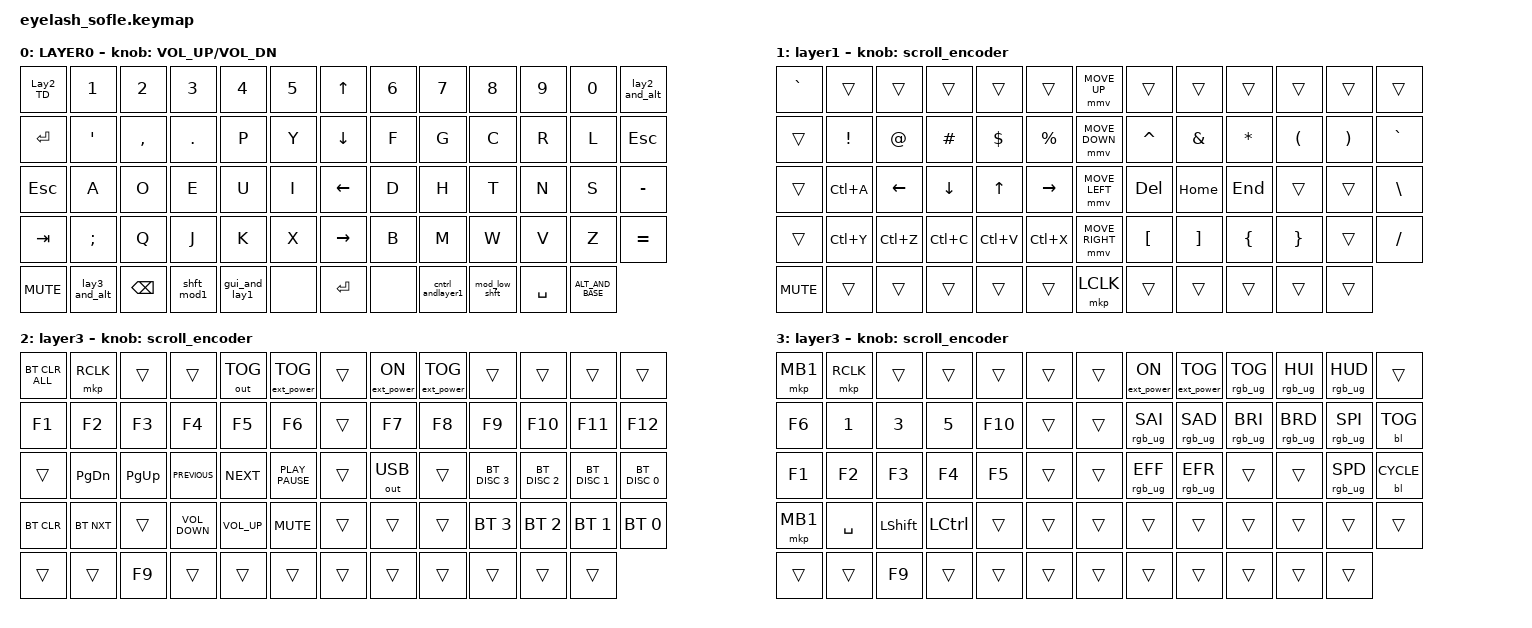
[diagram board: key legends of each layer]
#define ZMK_POINTING_DEFAULT_MOVE_VAL 1200  // 600
#define ZMK_POINTING_DEFAULT_SCRL_VAL 35    // 10

#include <input/processors.dtsi>
#include <zephyr/dt-bindings/input/input-event-codes.h>
#include <behaviors.dtsi>
#include <dt-bindings/zmk/backlight.h>
#include <dt-bindings/zmk/bt.h>
#include <dt-bindings/zmk/ext_power.h>
#include <dt-bindings/zmk/keys.h>
#include <dt-bindings/zmk/outputs.h>
#include <dt-bindings/zmk/pointing.h>
#include <dt-bindings/zmk/rgb.h>

/ {
    zip_scroll_scaler: zip_scroll_scaler {
        compatible = "zmk,input-processor-scaler";
        #input-processor-cells = <2>;
        type = <INPUT_EV_REL>;
        codes = <INPUT_REL_WHEEL INPUT_REL_HWHEEL>;
        track-remainders;
    };
};

&mmv_input_listener { input-processors = <&zip_xy_scaler 2 1>; };

&msc_input_listener { input-processors = <&zip_scroll_scaler 2 1>; };

&msc {
    acceleration-exponent = <0>;      // 0
    time-to-max-speed-ms = <0>;       // 300
    delay-ms = <0>;                   // 0
};

&mmv {
    time-to-max-speed-ms = <400>;
    acceleration-exponent = <1>;
    trigger-period-ms = <16>;
};

/ {
    scroll_encoder: scroll_encoder {
        compatible = "zmk,behavior-sensor-rotate";
        #sensor-binding-cells = <0>;
        bindings = <&msc SCRL_DOWN>, <&msc SCRL_UP>;

        tap-ms = <30>;
    };

    gui_and_lay1: gui_and_lay1 {
        compatible = "zmk,behavior-tap-dance";
        label = "GUI_AND_LAY1";
        #binding-cells = <0>;
        bindings = <&mac_gui_lay1>, <&kp LEFT_GUI>, <&mac_gui_shift_lay1>;

        tapping-term-ms = <250>;
    };

    shft_mod1: shft_mod1 {
        compatible = "zmk,behavior-tap-dance";
        label = "SHFT_MOD1";
        #binding-cells = <0>;
        bindings = <&kp LEFT_SHIFT>, <&mo 1>, <&mac_shft_lay1>;
    };

    cntrl_andlayer1: cntrl_andlayer1 {
        compatible = "zmk,behavior-tap-dance";
        label = "CNTRL_ANDLAYER1";
        #binding-cells = <0>;
        bindings =
            <&kp LEFT_CONTROL>,
            <&mac_cntrl_lay1>,
            <&mac_cntrl_shft_lay11>;

        tapping-term-ms = <275>;
    };

    mod_low_shft: mod_low_shft {
        compatible = "zmk,behavior-tap-dance";
        label = "MOD_LOW_SHFT";
        #binding-cells = <0>;
        bindings = <&mo 1>, <&kp LEFT_SHIFT>, <&mac_shft_lay1>;

        tapping-term-ms = <230>;
    };

    lay2_and_alt: lay2_and_alt {
        compatible = "zmk,behavior-tap-dance";
        label = "LAY2_AND_ALT";
        #binding-cells = <0>;
        bindings = <&mo 2>, <&kp LEFT_ALT>, <&kp LS(LEFT_ALT)>;

        tapping-term-ms = <230>;
    };

    Layer_3_TD: Layer_3_TD {
        compatible = "zmk,behavior-tap-dance";
        label = "LAYER_3_TD";
        #binding-cells = <0>;
        bindings = <&mo 3>, <&mo 2>, <&tog 3>;

        tapping-term-ms = <250>;
    };

    ALT_AND_BASE: ALT_AND_BASE {
        compatible = "zmk,behavior-tap-dance";
        label = "ALT_AND_BASE";
        #binding-cells = <0>;
        bindings = <&none>, <&kp LEFT_ALT>, <&tog 0>;

        tapping-term-ms = <250>;
    };

    lay3_and_alt: lay3_and_alt {
        compatible = "zmk,behavior-tap-dance";
        label = "LAY3_AND_ALT";
        #binding-cells = <0>;
        bindings = <&mo 3>, <&kp LEFT_ALT>, <&kp LS(LEFT_CONTROL)>;

        tapping-term-ms = <230>;
    };

    Lay2_TD: Lay2_TD {
        compatible = "zmk,behavior-tap-dance";
        label = "LAY2_TD";
        #binding-cells = <0>;
        bindings = <&mo 2>, <&mo 3>, <&tog 3>;

        tapping-term-ms = <250>;
    };

    behaviors {
    };

    combos {
        compatible = "zmk,combos";

        softoff {
            bindings = <&soft_off>;
            key-positions = <14 28 40>;
        };
    };

    macros {
        mac_gui_lay1: mac_gui_lay1 {
            compatible = "zmk,behavior-macro";
            #binding-cells = <0>;
            bindings =
                <&macro_press>,
                <&mo 1>,
                <&macro_press>,
                <&kp LEFT_GUI>,
                <&macro_pause_for_release>,
                <&macro_release>,
                <&kp LEFT_GUI>,
                <&macro_release>,
                <&mo 1>;

            label = "MAC_GUI_LAY1";
        };

        mac_shft_lay1: mac_shft_lay1 {
            compatible = "zmk,behavior-macro";
            #binding-cells = <0>;
            bindings =
                <&macro_press>,
                <&mo 1>,
                <&macro_press>,
                <&kp LEFT_SHIFT>,
                <&macro_pause_for_release>,
                <&macro_release>,
                <&kp LEFT_SHIFT>,
                <&macro_release>,
                <&mo 1>;

            label = "MAC_SHFT_LAY1";
        };

        mac_cntrl_shft_lay1: mac_cntrl_shift_lay1 {
            compatible = "zmk,behavior-macro";
            #binding-cells = <0>;
            bindings =
                <&macro_press>,
                <&mo 1>,
                <&macro_press>,
                <&kp LS(LEFT_CONTROL)>,
                <&macro_pause_for_release>,
                <&macro_release>,
                <&kp LS(LEFT_CONTROL)>,
                <&macro_release>,
                <&mo 1>;

            label = "MAC_CNTRL_SHIFT_LAY1";
        };

        mac_gui_shift_lay1: mac_gui_shift_lay1 {
            compatible = "zmk,behavior-macro";
            #binding-cells = <0>;
            bindings =
                <&macro_press>,
                <&mo 1>,
                <&macro_press>,
                <&kp LS(LEFT_GUI)>,
                <&macro_pause_for_release>,
                <&macro_release>,
                <&kp LS(LEFT_GUI)>,
                <&macro_release>,
                <&mo 1>;

            label = "MAC_GUI_SHIFT_LAY1";
        };

        mac_alt_lay1: mac_alt_lay1 {
            compatible = "zmk,behavior-macro";
            #binding-cells = <0>;
            bindings =
                <&macro_press>,
                <&mo 1>,
                <&macro_press>,
                <&kp LEFT_ALT>,
                <&macro_pause_for_release>,
                <&macro_release>,
                <&kp LEFT_ALT>,
                <&macro_release>,
                <&mo 1>;

            label = "MAC_ALT_LAY1";
        };

        mac_cntrl_lay1: mac_cntrl_lay1 {
            compatible = "zmk,behavior-macro";
            #binding-cells = <0>;
            bindings =
                <&macro_press>,
                <&mo 1>,
                <&macro_press>,
                <&kp LEFT_CONTROL>,
                <&macro_pause_for_release>,
                <&macro_release>,
                <&kp LEFT_CONTROL>,
                <&macro_release>,
                <&mo 1>;

            label = "MAC_CNTRL_LAY1";
        };

        mac_cntrl_shft_lay11: mac_cntrl_shft_lay11 {
            compatible = "zmk,behavior-macro";
            #binding-cells = <0>;
            bindings =
                <&macro_press>,
                <&mo 1>,
                <&macro_press>,
                <&kp LS(LEFT_CONTROL)>,
                <&macro_pause_for_release>,
                <&macro_release>,
                <&kp LS(LEFT_CONTROL)>,
                <&macro_release>,
                <&mo 1>;

            label = "MAC_CNTRL_SHFT_LAY11";
        };

        mac_shft_lay11: mac_shft_lay11 {
            compatible = "zmk,behavior-macro";
            #binding-cells = <0>;
            bindings =
                <&macro_press>,
                <&mo 1>,
                <&macro_press>,
                <&kp LEFT_SHIFT>,
                <&macro_pause_for_release>,
                <&macro_release>,
                <&kp LEFT_SHIFT>,
                <&macro_release>,
                <&mo 1>;

            label = "MAC_SHFT_LAY11";
        };
    };

    keymap {
        compatible = "zmk,keymap";

        layer0 {
            bindings = <
&Lay2_TD    &kp N1         &kp N2         &kp N3      &kp N4         &kp N5    &kp UP_ARROW     &kp N6  &kp N7            &kp N8         &kp N9     &kp N0         &lay2_and_alt
&kp ENTER   &kp SQT        &kp COMMA      &kp PERIOD  &kp P          &kp Y     &kp DOWN_ARROW   &kp F   &kp G             &kp C          &kp R      &kp L          &kp ESCAPE
&kp ESCAPE  &kp A          &kp O          &kp E       &kp U          &kp I     &kp LEFT_ARROW   &kp D   &kp H             &kp T          &kp N      &kp S          &kp MINUS
&kp TAB     &kp SEMICOLON  &kp Q          &kp J       &kp K          &kp X     &kp RIGHT_ARROW  &kp B   &kp M             &kp W          &kp V      &kp Z          &kp EQUAL
&kp C_MUTE  &lay3_and_alt  &kp BACKSPACE  &shft_mod1  &gui_and_lay1  &none     &kp ENTER        &none   &cntrl_andlayer1  &mod_low_shft  &kp SPACE  &ALT_AND_BASE
            >;

            sensor-bindings = <&inc_dec_kp C_VOLUME_UP C_VOL_DN>;
            display-name = "LAYER0";
        };

        layer_1 {
            bindings = <
&kp GRAVE   &trans           &trans          &trans          &trans        &trans         &mmv MOVE_UP     &trans            &trans             &trans          &trans                &trans                 &trans
&trans      &kp EXCLAMATION  &kp AT_SIGN     &kp POUND       &kp DOLLAR    &kp PERCENT    &mmv MOVE_DOWN   &kp CARET         &kp AMPERSAND      &kp ASTERISK    &kp LEFT_PARENTHESIS  &kp RIGHT_PARENTHESIS  &kp GRAVE
&trans      &kp LC(A)        &kp LEFT_ARROW  &kp DOWN_ARROW  &kp UP_ARROW  &kp RIGHT      &mmv MOVE_LEFT   &kp DELETE        &kp HOME           &kp END         &trans                &trans                 &kp BACKSLASH
&trans      &kp LC(Y)        &kp LC(Z)       &kp LC(C)       &kp LC(V)     &kp LC(X)      &mmv MOVE_RIGHT  &kp LEFT_BRACKET  &kp RIGHT_BRACKET  &kp LEFT_BRACE  &kp RIGHT_BRACE       &trans                 &kp SLASH
&kp C_MUTE  &trans           &trans          &trans          &trans        &trans         &mkp LCLK        &trans            &trans             &trans          &trans                &trans
            >;

            display-name = "layer1";
            sensor-bindings = <&scroll_encoder>;
        };

        layer_2 {
            display-name = "layer3";
            bindings = <
&bt BT_CLR_ALL  &mkp RCLK      &trans       &trans             &out OUT_TOG     &ext_power EP_TOG    &trans  &ext_power EP_ON  &ext_power EP_TOG  &trans         &trans         &trans         &trans
&kp F1          &kp F2         &kp F3       &kp F4             &kp F5           &kp F6               &trans  &kp F7            &kp F8             &kp F9         &kp F10        &kp F11        &kp F12
&trans          &kp PAGE_DOWN  &kp PAGE_UP  &kp K_PREVIOUS     &kp K_NEXT       &kp K_PLAY_PAUSE     &trans  &out OUT_USB      &trans             &bt BT_DISC 3  &bt BT_DISC 2  &bt BT_DISC 1  &bt BT_DISC 0
&bt BT_CLR      &bt BT_NXT     &trans       &kp C_VOLUME_DOWN  &kp C_VOLUME_UP  &kp K_MUTE           &trans  &trans            &trans             &bt BT_SEL 3   &bt BT_SEL 2   &bt BT_SEL 1   &bt BT_SEL 0
&trans          &trans         &kp F9       &trans             &trans           &trans               &trans  &trans            &trans             &trans         &trans         &trans
            >;

            sensor-bindings = <&scroll_encoder>;
            label = "layer2";
        };

        layer_3 {
            bindings = <
&mkp MB1  &mkp RCLK  &trans     &trans     &trans   &trans    &trans  &ext_power EP_ON  &ext_power EP_TOG  &rgb_ug RGB_TOG  &rgb_ug RGB_HUI  &rgb_ug RGB_HUD  &trans
&kp F6    &kp N1     &kp N3     &kp N5     &kp F10  &trans    &trans  &rgb_ug RGB_SAI   &rgb_ug RGB_SAD    &rgb_ug RGB_BRI  &rgb_ug RGB_BRD  &rgb_ug RGB_SPI  &bl BL_TOG
&kp F1    &kp F2     &kp F3     &kp F4     &kp F5   &trans    &trans  &rgb_ug RGB_EFF   &rgb_ug RGB_EFR    &trans           &trans           &rgb_ug RGB_SPD  &bl BL_CYCLE
&mkp MB1  &kp SPACE  &kp LSHFT  &kp LCTRL  &trans   &trans    &trans  &trans            &trans             &trans           &trans           &trans           &trans
&trans    &trans     &kp F9     &trans     &trans   &trans    &trans  &trans            &trans             &trans           &trans           &trans
            >;

            display-name = "layer3";
            sensor-bindings = <&scroll_encoder>;
        };
    };
};
